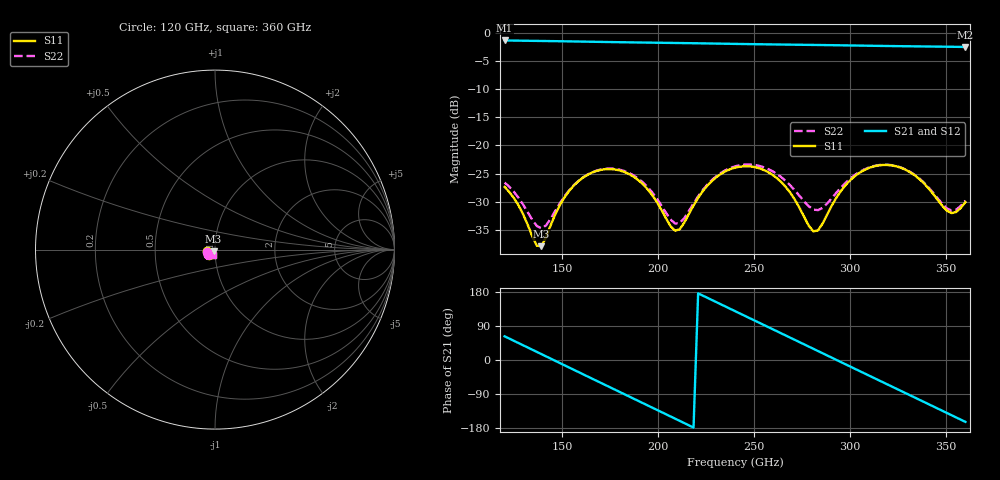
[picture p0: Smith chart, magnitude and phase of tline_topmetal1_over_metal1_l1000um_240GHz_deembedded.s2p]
! Created with skrf 2.2.0 (http://scikit-rf.org).
# GHz S DB R 50.0
! Port[1] = P1
! Port[2] = P2
!freq dBS11 angS11 dBS21 angS21 dBS12 angS12 dBS22 angS22
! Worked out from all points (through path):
!   101 points, 120 GHz to 360 GHz, reference 50 ohm
!   highest |S21| = -1.35 dB at 120 GHz (marker M1); lowest = -2.5 dB at 360 GHz (marker M2)
!   group delay of S21, straight-line fit = 6.78 ps
!   lowest |S11| = -37.9 dB at 139.2 GHz (marker M3), VSWR 1.03, Z = 49.2 - j0.947 ohm
!   |S11| at or under -10 dB: start of sweep to end of sweep
!   |S22| runs from -34.7 to -23.4 dB; largest |S21 - S12| = 9.7e-14
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120  -27.37 -172.9  -1.35 62.5  -1.35 62.5  -26.60 -166.8
136.8  -37.82 -153.3  -1.43 21.3  -1.43 21.3  -34.33 -154.4
139.2  -37.91 -130.8  -1.45 15.4  -1.45 15.4  -34.74 -140.9
151.2  -29.23 -101.9  -1.51 -14.0  -1.51 -14.0  -29.04 -109.7
160.8  -25.74 -115.8  -1.56 -37.5  -1.56 -37.5  -25.70 -119.3
172.8  -24.22 -138.4  -1.63 -66.9  -1.63 -66.9  -24.14 -139.1
182.4  -24.72 -156.3  -1.68 -90.3  -1.68 -90.3  -24.56 -155.6
192  -26.88 -171.4  -1.73 -113.7  -1.73 -113.7  -26.56 -169.2
201.6  -31.40 -174.5  -1.77 -137.2  -1.77 -137.2  -30.65 -171.1
211.2  -34.90 -130.4  -1.81 -160.6  -1.81 -160.6  -33.79 -133.2
225.6  -27.15 -109.8  -1.88 164.2  -1.88 164.2  -26.96 -110.4
240  -23.96 -131.8  -1.96 129.0  -1.96 129.0  -23.73 -129.6
249.6  -23.81 -149.1  -2.01 105.6  -2.01 105.6  -23.45 -145.1
259.2  -25.15 -165.3  -2.06 82.3  -2.06 82.3  -24.53 -159.2
268.8  -28.42 -176.3  -2.10 58.9  -2.10 58.9  -27.11 -167.3
280.8  -35.27 -146.7  -2.15 29.6  -2.15 29.6  -31.39 -148.1
290.4  -30.70 -104.0  -2.19 6.2  -2.19 6.2  -29.39 -118.7
300  -26.19 -108.3  -2.24 -17.2  -2.24 -17.2  -25.89 -117.5
321.6  -23.55 -142.4  -2.35 -69.8  -2.35 -69.8  -23.51 -145.7
338.4  -26.74 -163.6  -2.42 -110.6  -2.42 -110.6  -26.61 -164.5
352.8  -32.03 -138.7  -2.48 -145.7  -2.48 -145.7  -31.59 -139.7
360  -30.08 -113.1  -2.51 -163.3  -2.51 -163.3  -29.81 -115.1
